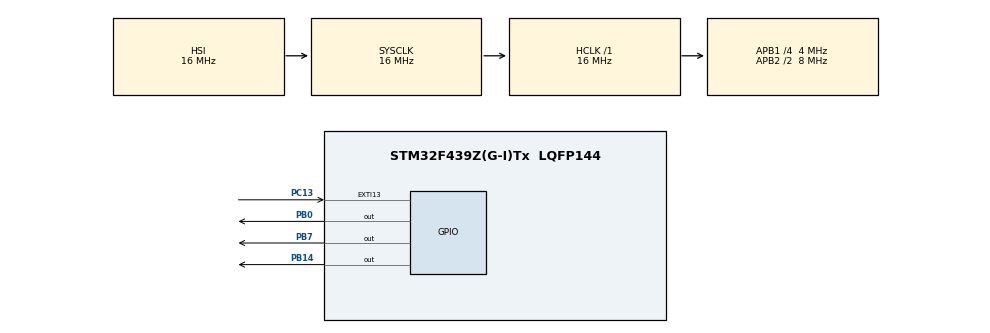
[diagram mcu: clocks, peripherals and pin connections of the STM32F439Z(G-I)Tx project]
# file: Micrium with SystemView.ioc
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Mcu.Family=STM32F4
Mcu.Name=STM32F439Z(G-I)Tx
Mcu.Package=LQFP144
NVIC.EXTI15_10_IRQn=true\:0\:0\:false\:false\:true\:true\:true\:true
NVIC.PriorityGroup=NVIC_PRIORITYGROUP_4
NVIC.TIM1_UP_TIM10_IRQn=true\:15\:0\:false\:false\:true\:false\:true\:true
NVIC.TimeBase=TIM1_UP_TIM10_IRQn
NVIC.TimeBaseIP=TIM1
PB0.Signal=GPIO_Output
PB14.Signal=GPIO_Output
PB7.Signal=GPIO_Output
PC13.Signal=GPXTI13
ProjectManager.HeapSize=0x200
ProjectManager.StackSize=0x400
ProjectManager.TargetToolchain=STM32CubeIDE
RCC.48MHZClocksFreq_Value=96000000
RCC.AHBFreq_Value=16000000
RCC.APB1CLKDivider=RCC_HCLK_DIV4
RCC.APB1Freq_Value=4000000
RCC.APB1TimFreq_Value=8000000
RCC.APB2CLKDivider=RCC_HCLK_DIV2
RCC.APB2Freq_Value=8000000
RCC.APB2TimCLKDivider=2
RCC.APB2TimFreq_Value=16000000
RCC.CortexFreq_Value=16000000
RCC.HCLKFreq_Value=16000000
RCC.HSE_VALUE=8000000
RCC.HSI_VALUE=16000000
RCC.LSE_VALUE=32768
RCC.PLLM=4
RCC.PLLMUL=RCC_PLL_MUL9
RCC.PLLN=168
RCC.PLLQ=7
RCC.PRESCALERUSB=RCC_USBCLKSOURCE_PLL_DIV1_5
RCC.SYSCLKFreq_VALUE=16000000
RCC.SYSCLKSourceVirtual=RCC_SYSCLKSOURCE_PLLCLK
RCC.USBFreq_Value=48000000
RCC.VCOOutputFreq_Value=672000000
VP_SYS_VS_tim1.Mode=TIM1
board=NUCLEO-F439ZI

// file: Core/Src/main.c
/* USER CODE BEGIN Header */
/**
  ******************************************************************************
  * @file           : main.c
  * @brief          : Main program body
  ******************************************************************************
  * @attention
  *
  * Copyright (c) 2024 STMicroelectronics.
  * All rights reserved.
  *
  * This software is licensed under terms that can be found in the LICENSE file
  * in the root directory of this software component.
  * If no LICENSE file comes with this software, it is provided AS-IS.
  *
  ******************************************************************************
  */
/* USER CODE END Header */
#include "main.h"

/* USER CODE BEGIN Includes */
#include "os.h"
#include "SEGGER_SYSVIEW.h"

/* USER CODE END Includes */

/* USER CODE BEGIN PD */
#define APP_TASK_BLINK_STK_SIZE 128		// Task's Stack Size

#define APP_TASK_BLINK_BLUE_PRIO 5		// Blue LED Task priority
#define APP_TASK_BLINK_GREEN_PRIO 4		// Green LED Task priority. Lower value is higher priority.
#define APP_TASK_STARTER_PRIO 10
/* USER CODE END PD */

/* USER CODE BEGIN PV */
/* Task Control Blocks */
static OS_TCB AppTask1_TCB;
static OS_TCB AppTask2_TCB;
static OS_TCB AppTaskStarter_TCB;

/* Task stacks. */
static CPU_STK AppTask1Stk[APP_TASK_BLINK_STK_SIZE];
static CPU_STK AppTask2Stk[APP_TASK_BLINK_STK_SIZE];
static CPU_STK AppTaskStarterStk[APP_TASK_BLINK_STK_SIZE];

/* A semaphore for broadcasting tasks to start. */
static OS_SEM StartSem;
/* USER CODE END PV */

void SystemClock_Config(void);
static void MX_GPIO_Init(void);
/* USER CODE BEGIN PFP */
static void AppTask1(void *p_arg);
static void AppTask2(void *p_arg);
static void AppTaskStarter(void *p_arg);

static void checkError(OS_ERR *err);
/* USER CODE END PFP */

int main(void)
{
  /* USER CODE BEGIN 1 */
	OS_ERR err;
  /* USER CODE END 1 */

  /* MCU Configuration--------------------------------------------------------*/

  /* Reset of all peripherals, Initializes the Flash interface and the Systick. */
  HAL_Init();

  /* Configure the system clock */
  SystemClock_Config();

  /* Initialize all configured peripherals */
  MX_GPIO_Init();
  /* USER CODE BEGIN 2 */

  /* Initialize CPU */
  CPU_Init();

  /* Initialize the OS */
  OSInit(&err);
  checkError(&err);

  SEGGER_SYSVIEW_Conf();
  SEGGER_SYSVIEW_Start();

  SEGGER_SYSVIEW_Print("SystemView Trace started.");

  /* Create task starter broadcaster semaphore */
  OSSemCreate(&StartSem, "Start Semaphore", 0, &err);
  checkError(&err);

  /* Create starter wrapper task. */
  OSTaskCreate((OS_TCB*) &AppTaskStarter_TCB,
			(CPU_CHAR*) "App Task Start",
			(OS_TASK_PTR) AppTaskStarter,
			(void*) 0,
			(OS_PRIO) APP_TASK_STARTER_PRIO,
			(CPU_STK*) &AppTaskStarterStk[0],
			(CPU_STK_SIZE) 0,
			(CPU_STK_SIZE) APP_TASK_BLINK_STK_SIZE,
			(OS_MSG_QTY) 0,
			(OS_TICK) 0,
			(void*) 0,
			(OS_OPT) (OS_OPT_TASK_STK_CHK | OS_OPT_TASK_STK_CLR ),
			(OS_ERR*) &err);
	checkError(&err);

  	/* Start OS */
  	OSStart(&err);
  	checkError(&err);

  /* USER CODE END 2 */

  /* Infinite loop */
  while (1)
  {

  }
}

void SystemClock_Config(void)
{
  RCC_OscInitTypeDef RCC_OscInitStruct = {0};
  RCC_ClkInitTypeDef RCC_ClkInitStruct = {0};

  /** Configure the main internal regulator output voltage
  */
  __HAL_RCC_PWR_CLK_ENABLE();
  __HAL_PWR_VOLTAGESCALING_CONFIG(PWR_REGULATOR_VOLTAGE_SCALE3);

  /** Initializes the RCC Oscillators according to the specified parameters
  * in the RCC_OscInitTypeDef structure.
  */
  RCC_OscInitStruct.OscillatorType = RCC_OSCILLATORTYPE_HSI;
  RCC_OscInitStruct.HSIState = RCC_HSI_ON;
  RCC_OscInitStruct.HSICalibrationValue = RCC_HSICALIBRATION_DEFAULT;
  RCC_OscInitStruct.PLL.PLLState = RCC_PLL_NONE;
  if (HAL_RCC_OscConfig(&RCC_OscInitStruct) != HAL_OK)
  {
    Error_Handler();
  }

  /** Initializes the CPU, AHB and APB buses clocks
  */
  RCC_ClkInitStruct.ClockType = RCC_CLOCKTYPE_HCLK|RCC_CLOCKTYPE_SYSCLK
                              |RCC_CLOCKTYPE_PCLK1|RCC_CLOCKTYPE_PCLK2;
  RCC_ClkInitStruct.SYSCLKSource = RCC_SYSCLKSOURCE_HSI;
  RCC_ClkInitStruct.AHBCLKDivider = RCC_SYSCLK_DIV1;
  RCC_ClkInitStruct.APB1CLKDivider = RCC_HCLK_DIV4;
  RCC_ClkInitStruct.APB2CLKDivider = RCC_HCLK_DIV2;

  if (HAL_RCC_ClockConfig(&RCC_ClkInitStruct, FLASH_LATENCY_0) != HAL_OK)
  {
    Error_Handler();
  }
}

static void MX_GPIO_Init(void)
{
  GPIO_InitTypeDef GPIO_InitStruct = {0};

  /* GPIO Ports Clock Enable */
  __HAL_RCC_GPIOC_CLK_ENABLE();
  __HAL_RCC_GPIOB_CLK_ENABLE();

  /*Configure GPIO pin Output Level */
  HAL_GPIO_WritePin(GPIOB, GPIO_PIN_0|GPIO_PIN_14|GPIO_PIN_7, GPIO_PIN_RESET);

  /*Configure GPIO pin : PC13 */
  GPIO_InitStruct.Pin = GPIO_PIN_13;
  GPIO_InitStruct.Mode = GPIO_MODE_IT_RISING;
  GPIO_InitStruct.Pull = GPIO_NOPULL;
  HAL_GPIO_Init(GPIOC, &GPIO_InitStruct);

  /*Configure GPIO pins : PB0 PB14 PB7 */
  GPIO_InitStruct.Pin = GPIO_PIN_0|GPIO_PIN_14|GPIO_PIN_7;
  GPIO_InitStruct.Mode = GPIO_MODE_OUTPUT_PP;
  GPIO_InitStruct.Pull = GPIO_NOPULL;
  GPIO_InitStruct.Speed = GPIO_SPEED_FREQ_LOW;
  HAL_GPIO_Init(GPIOB, &GPIO_InitStruct);

  /* EXTI interrupt init*/
  HAL_NVIC_SetPriority(EXTI15_10_IRQn, 0, 0);
  HAL_NVIC_EnableIRQ(EXTI15_10_IRQn);

}

/* USER CODE BEGIN 4 */

/* A main wrapper task for starting the other task.
 * This task initializes Systick and creates all other tasks. */
static void AppTaskStarter(void *p_arg){
	OS_ERR err;

	SEGGER_SYSVIEW_Print("AppTaskStarter is started.");

	/* Initialize Systick. This function has to be called after OSStart() call. */
	OS_CPU_SysTickInit(SystemCoreClock / OS_CFG_TICK_RATE_HZ);

	/* Create blink tasks. */
	OSTaskCreate((OS_TCB*) &AppTask1_TCB,
	  			(CPU_CHAR*) "App Task 1",
	  			(OS_TASK_PTR) AppTask1,
	  			(void*) 0,
	  			(OS_PRIO) APP_TASK_BLINK_GREEN_PRIO,
	  			(CPU_STK*) &AppTask1Stk[0],
	  			(CPU_STK_SIZE) 0,
	  			(CPU_STK_SIZE) APP_TASK_BLINK_STK_SIZE,
	  			(OS_MSG_QTY) 0,
	  			(OS_TICK) 0,
	  			(void*) 0,
	  			(OS_OPT) (OS_OPT_TASK_STK_CHK | OS_OPT_TASK_STK_CLR ),
	  			(OS_ERR*) &err);
	checkError(&err);

	OSTaskCreate((OS_TCB*) &AppTask2_TCB,
			(CPU_CHAR*) "App Task 2",
			(OS_TASK_PTR) AppTask2,
			(void*) 0,
			(OS_PRIO) APP_TASK_BLINK_BLUE_PRIO,
			(CPU_STK*) &AppTask2Stk[0],
			(CPU_STK_SIZE) 0,
			(CPU_STK_SIZE) APP_TASK_BLINK_STK_SIZE,
			(OS_MSG_QTY) 0,
			(OS_TICK) 0,
			(void*) 0,
			(OS_OPT) (OS_OPT_TASK_STK_CHK | OS_OPT_TASK_STK_CLR ),
			(OS_ERR*) &err);
	checkError(&err);

	SEGGER_SYSVIEW_Print("Tasks are created.");

	/* Broadcast all the tasks to start working. */
	OSSemPost(&StartSem, OS_OPT_POST_ALL, &err);
	checkError(&err);

	while(1){

	}
}

/* A high priority task that toggles Green LED.
 * It is suspended for 5 seconds, preempts the other task when
 * ready to run and keep the Green LED on for 3 seconds*/
static void AppTask1(void *p_arg) {
	OS_ERR err;
	CPU_TS ts;

	SEGGER_SYSVIEW_Print("AppTask1 is started.");

	SEGGER_SYSVIEW_Print("Task1: Waiting on semaphore.");
	/* Waiting for all tasks to be created. */
	OSSemPend(&StartSem, 0, OS_OPT_PEND_BLOCKING, &ts, &err);
	checkError(&err);											// Check error

	SEGGER_SYSVIEW_Print("Task1: Ready.");

	while (1){
		SEGGER_SYSVIEW_Print("Task1: Going to suspend.");
		OSTimeDlyHMSM(0, 0, 5, 0, OS_OPT_TIME_HMSM_STRICT, &err);	// Sleep for 5 seconds.
		checkError(&err);											// Check error

		SEGGER_SYSVIEW_Print("Task1: Ready.");

		HAL_GPIO_TogglePin(GPIOB, GPIO_PIN_0);						// Turn on the Green LED
		SEGGER_SYSVIEW_Print("Task1: Green LED turned on.");

		HAL_Delay(3000);											// Keep the LED on.

		HAL_GPIO_TogglePin(GPIOB, GPIO_PIN_0);						// Turn off the Green LED
		SEGGER_SYSVIEW_Print("Task1: Green LED turned off.");
	}
}

/* A low priority task that toggles Blue LED.
 * This task is always ready to run and blinks the blue LED.*/
static void AppTask2(void *p_arg) {
	OS_ERR err;
	CPU_TS ts;

	SEGGER_SYSVIEW_Print("AppTask2 is started.");

	SEGGER_SYSVIEW_Print("Task2: Waiting on semaphore.");
	/* Waiting for all tasks to be created. */
	OSSemPend(&StartSem, 0, OS_OPT_PEND_BLOCKING, &ts, &err);
	checkError(&err);											// Check error

	SEGGER_SYSVIEW_Print("Task2: Ready.");

	while (1) {
		HAL_GPIO_TogglePin(GPIOB, GPIO_PIN_7);			// Toggle Blue LED
		SEGGER_SYSVIEW_Print("Task2: Blue LED is toggled..");

		HAL_Delay(500);

	}
}

/* This function checks the error code returned by OS services.*/
/* If there is an error, the procedure doesn't continue and the red LED is blinking*/
static void checkError(OS_ERR *err){
	if (*err != OS_ERR_NONE) {
		while (1) {
			HAL_GPIO_TogglePin(GPIOB, GPIO_PIN_14);
			HAL_Delay(200);

		}
	}
}

void HAL_GPIO_EXTI_Callback(uint16_t GPIO_Pin){
	HAL_GPIO_TogglePin(GPIOB, GPIO_PIN_14);
}

/* USER CODE END 4 */

void HAL_TIM_PeriodElapsedCallback(TIM_HandleTypeDef *htim)
{
  if (htim->Instance == TIM1) {
    HAL_IncTick();
  }
}

void Error_Handler(void)
{
  __disable_irq();
  while (1)
  {
  }
}
